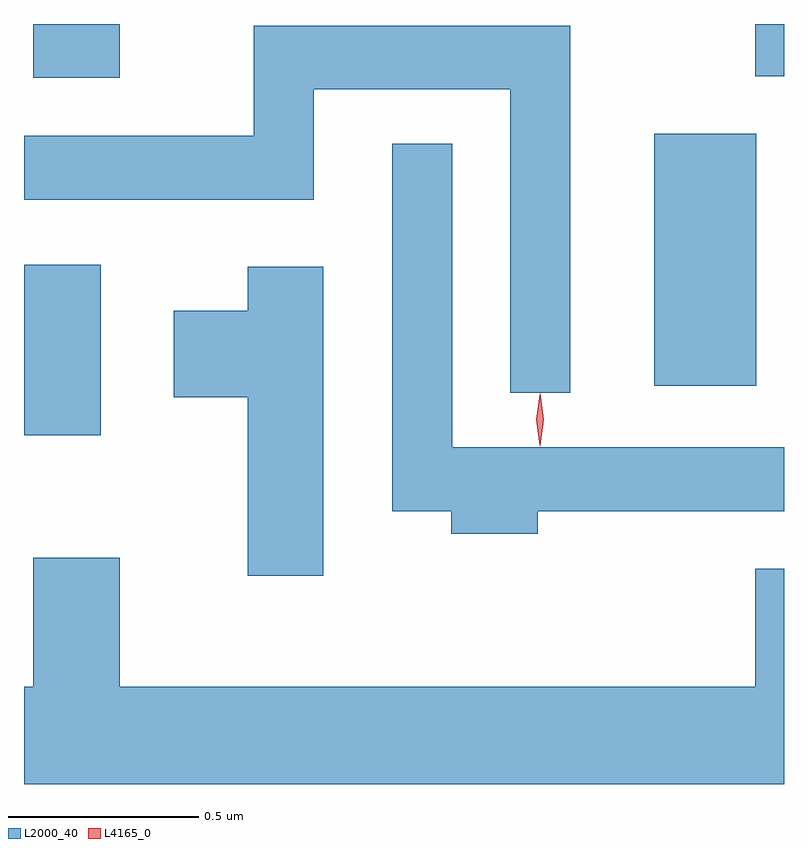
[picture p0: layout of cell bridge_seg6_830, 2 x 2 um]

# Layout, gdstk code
import gdstk
lib = gdstk.Library(unit=1e-6, precision=1e-09)
def R(c, l, rs):  # rectangles x0, y0, x1, y1
    for r in rs: c.add(gdstk.rectangle(r[:2], r[2:], *l))
def P(c, l, *ps):  # polygons
    for p in ps: c.add(gdstk.Polygon(p, *l))
L2000_40 = (2000, 40)
L4165_0 = (4165, 0)

bridge_seg6_830 = lib.new_cell('bridge_seg6_830')
R(bridge_seg6_830, L2000_40, [(524.767,1544.306,524.969,1544.754), (526.426,1544.436,526.694,1545.099), (524.791,1545.246,525.019,1545.388), (526.691,1545.251,526.767,1545.388)])
P(bridge_seg6_830, L2000_40, [(526.204,1545.384),(525.371,1545.384),(525.371,1545.094),(524.767,1545.094),(524.767,1544.926),(525.529,1544.926),(525.529,1545.216),(526.046,1545.216),(526.046,1544.418),(526.204,1544.418)],
  [(526.119,1544.106),(526.767,1544.106),(526.767,1544.274),(525.894,1544.274),(525.894,1545.073),(525.736,1545.073),(525.736,1544.106),(525.891,1544.106),(525.891,1544.046),(526.119,1544.046)],
  [(525.554,1544.749),(525.356,1544.749),(525.356,1544.634),(525.161,1544.634),(525.161,1544.406),(525.356,1544.406),(525.356,1543.936),(525.554,1543.936)],
  [(526.767,1543.954),(526.691,1543.954),(526.691,1543.644),(525.019,1543.644),(525.019,1543.984),(524.791,1543.984),(524.791,1543.644),(524.767,1543.644),(524.767,1543.388),(526.767,1543.388)])
P(bridge_seg6_830, L4165_0, [(526.125,1544.279),(526.124,1544.28),(526.115,1544.346),(526.124,1544.412),(526.125,1544.413),(526.125,1544.412),(526.135,1544.346),(526.125,1544.28)],
  [(526.125,1544.277),(526.125,1544.278),(526.115,1544.347),(526.125,1544.416),(526.125,1544.416),(526.126,1544.416),(526.135,1544.347),(526.126,1544.278)])

lib.write_gds('bridge_seg6_830.gds')
